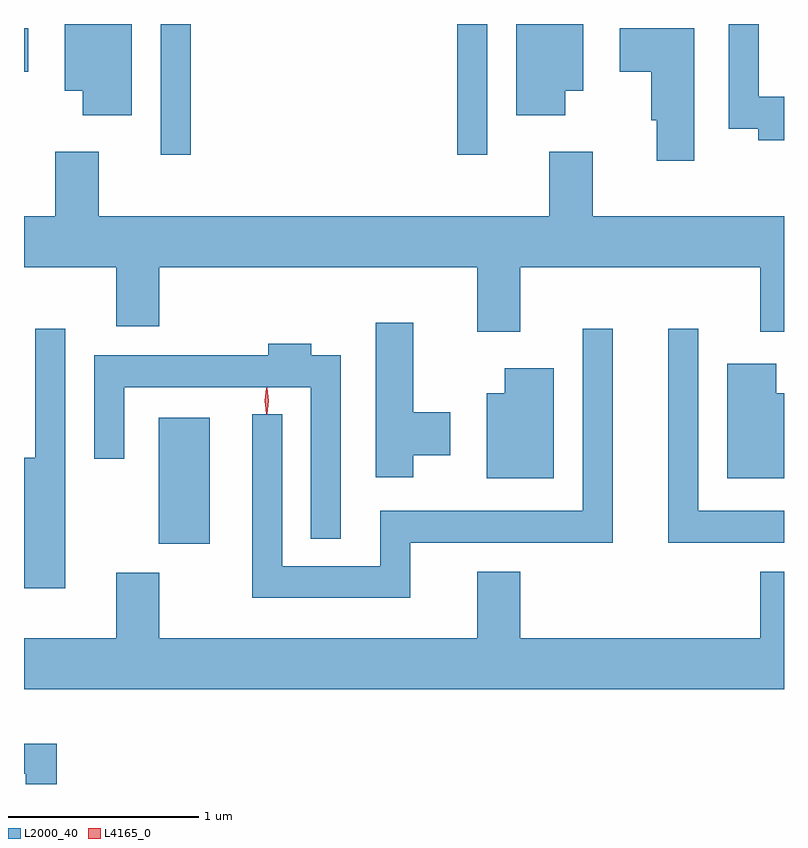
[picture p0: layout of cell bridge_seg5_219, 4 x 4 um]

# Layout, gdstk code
import gdstk
lib = gdstk.Library(unit=1e-6, precision=1e-09)
def R(c, l, rs):  # rectangles x0, y0, x1, y1
    for r in rs: c.add(gdstk.rectangle(r[:2], r[2:], *l))
def P(c, l, *ps):  # polygons
    for p in ps: c.add(gdstk.Polygon(p, *l))
L2000_40 = (2000, 40)
L4165_0 = (4165, 0)

bridge_seg5_219 = lib.new_cell('bridge_seg5_219')
R(bridge_seg5_219, L2000_40, [(1338.956,1426.481,1339.224,1427.144), (1338.966,1428.528,1339.124,1429.217), (1340.526,1428.528,1340.684,1429.217), (1338.246,1428.966,1338.269,1429.194)])
P(bridge_seg5_219, L2000_40, [(1338.814,1429.217),(1338.461,1429.217),(1338.461,1428.866),(1338.556,1428.866),(1338.556,1428.736),(1338.814,1428.736)],
  [(1341.094,1428.866),(1341.189,1428.866),(1341.189,1429.217),(1340.836,1429.217),(1340.836,1428.736),(1341.094,1428.736)],
  [(1342.246,1428.834),(1342.114,1428.834),(1342.114,1429.217),(1341.956,1429.217),(1341.956,1428.666),(1342.111,1428.666),(1342.111,1428.606),(1342.246,1428.606)],
  [(1341.774,1429.194),(1341.381,1429.194),(1341.381,1428.966),(1341.546,1428.966),(1341.546,1428.711),(1341.576,1428.711),(1341.576,1428.496),(1341.774,1428.496)],
  [(1340.859,1427.936),(1342.121,1427.936),(1342.121,1427.596),(1342.246,1427.596),(1342.246,1428.204),(1341.239,1428.204),(1341.239,1428.544),(1341.011,1428.544),(1341.011,1428.204),(1338.639,1428.204),(1338.639,1428.544),(1338.411,1428.544),(1338.411,1428.204),(1338.246,1428.204),(1338.246,1427.936),(1338.731,1427.936),(1338.731,1427.626),(1338.959,1427.626),(1338.959,1427.936),(1340.631,1427.936),(1340.631,1427.596),(1340.859,1427.596)],
  [(1340.294,1426.946),(1340.489,1426.946),(1340.489,1427.174),(1340.294,1427.174),(1340.294,1427.644),(1340.096,1427.644),(1340.096,1426.831),(1340.294,1426.831)],
  [(1338.464,1427.613),(1338.306,1427.613),(1338.306,1426.934),(1338.246,1426.934),(1338.246,1426.246),(1338.464,1426.246)],
  [(1340.279,1426.486),(1341.344,1426.486),(1341.344,1427.613),(1341.186,1427.613),(1341.186,1426.654),(1340.121,1426.654),(1340.121,1426.364),(1339.604,1426.364),(1339.604,1427.163),(1339.446,1427.163),(1339.446,1426.196),(1340.279,1426.196)],
  [(1342.246,1426.654),(1341.794,1426.654),(1341.794,1427.613),(1341.636,1427.613),(1341.636,1426.486),(1342.246,1426.486)],
  [(1339.914,1427.474),(1339.759,1427.474),(1339.759,1427.534),(1339.531,1427.534),(1339.531,1427.474),(1338.616,1427.474),(1338.616,1426.928),(1338.774,1426.928),(1338.774,1427.306),(1339.756,1427.306),(1339.756,1426.508),(1339.914,1426.508)],
  [(1342.246,1427.274),(1342.204,1427.274),(1342.204,1427.429),(1341.946,1427.429),(1341.946,1426.826),(1342.246,1426.826)],
  [(1341.034,1427.404),(1340.776,1427.404),(1340.776,1427.274),(1340.681,1427.274),(1340.681,1426.826),(1341.034,1426.826)],
  [(1342.246,1426.334),(1342.121,1426.334),(1342.121,1425.984),(1340.859,1425.984),(1340.859,1426.334),(1340.631,1426.334),(1340.631,1425.984),(1338.959,1425.984),(1338.959,1426.329),(1338.731,1426.329),(1338.731,1425.984),(1338.246,1425.984),(1338.246,1425.716),(1342.246,1425.716)],
  [(1338.419,1425.429),(1338.246,1425.429),(1338.246,1425.271),(1338.256,1425.271),(1338.256,1425.217),(1338.419,1425.217)])
P(bridge_seg5_219, L4165_0, [(1339.524,1427.164),(1339.515,1427.234),(1339.524,1427.302),(1339.525,1427.303),(1339.525,1427.302),(1339.535,1427.234),(1339.525,1427.164),(1339.525,1427.164)],
  [(1339.522,1427.167),(1339.513,1427.234),(1339.522,1427.3),(1339.523,1427.3),(1339.523,1427.3),(1339.533,1427.234),(1339.523,1427.167),(1339.523,1427.167)])

lib.write_gds('bridge_seg5_219.gds')
